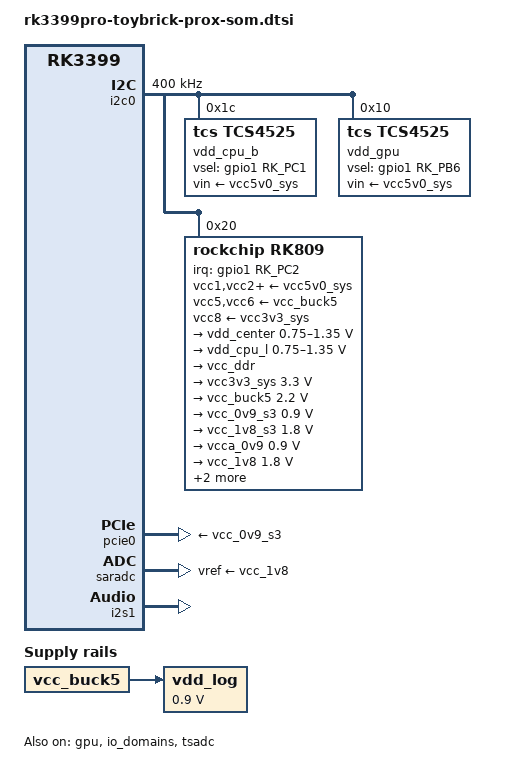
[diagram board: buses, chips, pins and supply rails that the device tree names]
// SPDX-License-Identifier: (GPL-2.0+ OR MIT)
/*
 * Copyright (c) 2019 Fuzhou Rockchip Electronics Co., Ltd
 */

#include <dt-bindings/gpio/gpio.h>
#include <dt-bindings/interrupt-controller/irq.h>
#include <dt-bindings/pinctrl/rockchip.h>
#include <dt-bindings/pwm/pwm.h>

#include "rk3399pro.dtsi"
#include "rk3399-opp.dtsi"

/ {
	compatible = "toybrick,rk3399prox-som", "rockchip,rk3399pro";

	/*
	 * Really, this is supplied by vcc5v0_sys, and vcc_buck5 only
	 * drives the enable pin, but we can't quite model that.
	 */
	vdd_log: vdd-log {
		compatible = "regulator-fixed";
		regulator-name = "vdd_log";
		regulator-always-on;
		regulator-boot-on;
		regulator-min-microvolt = <900000>;
		regulator-max-microvolt = <900000>;
		vin-supply = <&vcc_buck5>;
	};

	rk809_sound: rk809-sound {
		compatible = "simple-audio-card";

		simple-audio-card,format = "i2s";
		simple-audio-card,name = "Analog RK809";
		simple-audio-card,mclk-fs = <256>;

		simple-audio-card,cpu {
			sound-dai = <&i2s1>;
		};

		simple-audio-card,codec {
			sound-dai = <&rk809>;
		};
	};
};

&i2c0 {
	status = "okay";

	clock-frequency = <400000>;
	i2c-scl-falling-time-ns = <30>;
	i2c-scl-rising-time-ns = <180>;

	vdd_cpu_b: regulator@1c {
		compatible = "tcs,tcs4525";
		reg = <0x1c>;

		/* Also has an enable pin driven by vcc_1v8. */
		fcs,suspend-voltage-selector = <1>;
		pinctrl-0 = <&cpu_b_sleep_h>;
		vsel-gpios = <&gpio1 RK_PC1 GPIO_ACTIVE_HIGH>;
		vin-supply = <&vcc5v0_sys>;

		regulator-name = "vdd_cpu_b";
		regulator-min-microvolt = <712500>;
		regulator-max-microvolt = <1500000>;
		regulator-ramp-delay = <2300>;
		regulator-always-on;
		regulator-boot-on;

		regulator-state-mem {
			regulator-off-in-suspend;
		};
	};

	vdd_gpu: regulator@10 {
		compatible = "tcs,tcs4525";
		reg = <0x10>;

		/* Also has an enable pin driven by vcc_1v8. */
		fcs,suspend-voltage-selector = <1>;
		pinctrl-0 = <&gpu_sleep_h>;
		vsel-gpios = <&gpio1 RK_PB6 GPIO_ACTIVE_HIGH>;
		vin-supply = <&vcc5v0_sys>;

		regulator-name = "vdd_gpu";
		regulator-min-microvolt = <735000>;
		regulator-max-microvolt = <1500000>;
		regulator-ramp-delay = <2300>;
		regulator-always-on;
		regulator-boot-on;

		regulator-state-mem {
			regulator-off-in-suspend;
		};
	};

	rk809: pmic@20 {
		compatible = "rockchip,rk809";
		reg = <0x20>;

		#clock-cells = <1>;
		#sound-dai-cells = <0>;

		interrupt-parent = <&gpio1>;
		interrupts = <RK_PC2 IRQ_TYPE_LEVEL_LOW>;
		pinctrl-names = "default";
		pinctrl-0 = <&pmic_int_l>, <&i2s_clk>;

		clock-names = "mclk";
		clocks = <&cru SCLK_I2S_8CH_OUT>;
		clock-output-names = "rk809-clkout1", "rk809-clkout2";

		rockchip,system-power-controller;
		wakeup-source;

		vcc1-supply = <&vcc5v0_sys>;
		vcc2-supply = <&vcc5v0_sys>;
		vcc3-supply = <&vcc5v0_sys>;
		vcc4-supply = <&vcc5v0_sys>;
		vcc5-supply = <&vcc_buck5>;
		vcc6-supply = <&vcc_buck5>;
		vcc7-supply = <&vcc5v0_sys>;
		vcc8-supply = <&vcc3v3_sys>;
		vcc9-supply = <&vcc5v0_sys>;

		regulators {
			vdd_center: DCDC_REG1 {
				regulator-name = "vdd_center";
				regulator-always-on;
				regulator-boot-on;
				regulator-min-microvolt = <750000>;
				regulator-max-microvolt = <1350000>;
				regulator-initial-mode = <0x2>;
				regulator-state-mem {
					/* Schematic says this is off in suspend? */
					regulator-on-in-suspend;
					regulator-suspend-microvolt = <900000>;
				};
			};

			vdd_cpu_l: DCDC_REG2 {
				regulator-name = "vdd_cpu_l";
				regulator-always-on;
				regulator-boot-on;
				regulator-min-microvolt = <750000>;
				regulator-max-microvolt = <1350000>;
				regulator-ramp-delay = <6001>;
				regulator-initial-mode = <0x2>;
				regulator-state-mem {
					regulator-off-in-suspend;
				};
			};

			vcc_ddr: DCDC_REG3 {
				regulator-name = "vcc_ddr";
				regulator-always-on;
				regulator-boot-on;
				regulator-initial-mode = <0x2>;
				regulator-state-mem {
					regulator-on-in-suspend;
				};
			};

			vcc3v3_sys: DCDC_REG4 {
				regulator-name = "vcc3v3_sys";
				regulator-always-on;
				regulator-boot-on;
				regulator-min-microvolt = <3300000>;
				regulator-max-microvolt = <3300000>;
				regulator-initial-mode = <0x2>;
				regulator-state-mem {
					regulator-on-in-suspend;
					regulator-suspend-microvolt = <3300000>;
				};
			};

			vcc_buck5: DCDC_REG5 {
				regulator-name = "vcc_buck5";
				regulator-always-on;
				regulator-boot-on;
				regulator-min-microvolt = <2200000>;
				regulator-max-microvolt = <2200000>;
				regulator-state-mem {
					regulator-on-in-suspend;
					regulator-suspend-microvolt = <2200000>;
				};
			};

			vcc_0v9_s3: LDO_REG1 {
				regulator-name = "vcc_0v9_s3";
				regulator-always-on;
				regulator-boot-on;
				regulator-min-microvolt = <900000>;
				regulator-max-microvolt = <900000>;
				regulator-state-mem {
					regulator-on-in-suspend;
					regulator-suspend-microvolt = <900000>;
				};
			};

			vcc_1v8_s3: LDO_REG2 {
				regulator-name = "vcc_1v8_s3";
				regulator-always-on;
				regulator-boot-on;
				regulator-min-microvolt = <1800000>;
				regulator-max-microvolt = <1800000>;
				regulator-state-mem {
					regulator-on-in-suspend;
					regulator-suspend-microvolt = <1800000>;
				};
			};

			vcca_0v9: LDO_REG3 {
				regulator-name = "vcca_0v9";
				regulator-always-on;
				regulator-boot-on;
				regulator-min-microvolt = <900000>;
				regulator-max-microvolt = <900000>;
				regulator-state-mem {
					regulator-off-in-suspend;
				};
			};

			vcc_1v8: LDO_REG4 {
				regulator-name = "vcc_1v8";
				regulator-always-on;
				regulator-boot-on;
				regulator-min-microvolt = <1800000>;
				regulator-max-microvolt = <1800000>;
				regulator-state-mem {
					regulator-off-in-suspend;
				};
			};

			vcc1v8_dvp: LDO_REG5 {
				regulator-name = "vcc1v8_dvp";
				regulator-always-on;
				/* Scheamtic says this off at boot? */
				regulator-boot-on;
				regulator-min-microvolt = <1800000>;
				regulator-max-microvolt = <1800000>;
				regulator-state-mem {
					regulator-off-in-suspend;
				};
			};

			vcc_1v5: LDO_REG6 {
				regulator-name = "vcc_1v5";
				regulator-always-on;
				regulator-boot-on;
				regulator-min-microvolt = <1500000>;
				regulator-max-microvolt = <1500000>;
				regulator-state-mem {
					regulator-off-in-suspend;
				};
			};

			vccio_3v0: LDO_REG7 {
				regulator-name = "vccio_3v0";
				regulator-always-on;
				regulator-boot-on;
				regulator-min-microvolt = <3000000>;
				regulator-max-microvolt = <3000000>;
				regulator-state-mem {
					regulator-off-in-suspend;
				};
			};

			vccio_sd: LDO_REG8 {
				regulator-name = "vccio_sd";
				regulator-always-on;
				regulator-boot-on;
				regulator-min-microvolt = <3000000>;
				regulator-max-microvolt = <3000000>;
				regulator-state-mem {
					/* Schematic says this is off in suspend? */
					regulator-on-in-suspend;
					regulator-suspend-microvolt = <3000000>;
				};
			};

			vcc3v0_sd: LDO_REG9 {
				regulator-name = "vcc3v0_sd";
				regulator-always-on;
				regulator-boot-on;
				regulator-min-microvolt = <3000000>;
				regulator-max-microvolt = <3000000>;
				regulator-state-mem {
					/* Schematic says this is off in suspend? */
					regulator-on-in-suspend;
					regulator-suspend-microvolt = <3000000>;
				};
			};

			/* Not used on the SOM, and not exposed via the SOM's connector. */
			/*
			vcc5v0_usb: SWITCH_REG1 {
				regulator-name = "vcc5v0_usb";
				regulator-min-microvolt = <5000000>;
				regulator-max-microvolt = <5000000>;
				regulator-state-mem {
					regulator-off-in-suspend;
				};
			};
			*/

			vccio_3v3: SWITCH_REG2 {
				regulator-name = "vccio_3v3";
				regulator-always-on;
				regulator-boot-on;
				regulator-min-microvolt = <3300000>;
				regulator-max-microvolt = <3300000>;
				regulator-state-mem {
					regulator-off-in-suspend;
				};
			};
		};
	};
};

&cpu_l0 {
	cpu-supply = <&vdd_cpu_l>;
};

&cpu_l1 {
	cpu-supply = <&vdd_cpu_l>;
};

&cpu_l2 {
	cpu-supply = <&vdd_cpu_l>;
};

&cpu_l3 {
	cpu-supply = <&vdd_cpu_l>;
};

&cpu_b0 {
	cpu-supply = <&vdd_cpu_b>;
};

&cpu_b1 {
	cpu-supply = <&vdd_cpu_b>;
};

&gpu {
	status = "okay";

	mali-supply = <&vdd_gpu>;
};

&pmu_io_domains {
	status = "okay";

	/*
	 * PMUIO1_VDD_1V8 = VCC_1V8_S3
	 * PMU_VDD_1V8 = VCC_1V8_S3
	 * PMU_VDD_0V9 = VCC_0V9_S3
	 * PMUIO2_VDDPST = VCC_1V8_S3
	 */

	pmu1830-supply = <&vcc_1v8_s3>; /* PMUIO2_VDD */
};

&io_domains {
	status = "okay";

	/*
	 * APIO1_VDD = VCCIO_3V3_S0
	 * APIO1_VDDPST = VCC_1V8_S0
	 * APIO3_VDD_1V8 = VCC_1V8_S3
	 * APIO4_VDDPST = VCC_1V5_S0
	 * APIO5_VDDPST = VCC_1V8_S0
	 */
	audio-supply = <&vcc_1v8>; /* APIO5_VDD */
	bt656-supply = <&vcc1v8_dvp>; /* APIO2_VDD */
	gpio1830-supply = <&vccio_3v0>; /* APIO4_VDD */
	sdmmc-supply = <&vccio_sd>; /* SDMMC0_VDD */
};

i2c1_1v8: &i2c1 {};

i2c3_hdmi: &i2c3 {};

i2c4_tp: &i2c4 {};

&hdmi {
	avdd-0v9-supply = <&vcca_0v9>;
	avdd-1v8-supply = <&vcc_1v8>;
};

&pcie0 {
	vpcie3v3-supply = <&vcc_0v9_s3>;
	vpcie1v8-supply = <&vcc_1v8_s3>;
};

&saradc {
	vref-supply = <&vcc_1v8>;
};

&tsadc {
	status = "okay";

	/* tshut mode 0:CRU 1:GPIO */
	rockchip,hw-tshut-mode = <1>;
	/* tshut polarity 0:LOW 1:HIGH */
	rockchip,hw-tshut-polarity = <1>;
};

&i2s1 {
	status = "okay";

	#sound-dai-cells = <0>;
};

&pinctrl {
	/*
	 * pinctrl settings for pins that have no real owners.
	 *
	 * At the moment settings are identical for S0 and S3, but if we later
	 * need to configure things differently for S3 we'll adjust here.
	 */
	pinctrl-names = "default";
	pinctrl-0 = <
		&ap_pwroff	/* AP will auto-assert this when in S3 */
		&clk_32k	/* This pin is always 32k on gru boards */
	>;

	wifi {
		/* Says _l but is actually active-high. */
		wifi_host_wake_l: wifi-host-wake-l {
			rockchip,pins = <0 RK_PA3 RK_FUNC_GPIO &pcfg_pull_none>;
		};

		/* Says _h but is actually active-low. */
		wifi_reg_on_h: wifi-reg-on-h {
			rockchip,pins = <2 RK_PD3 RK_FUNC_GPIO &pcfg_pull_none>;
		};
	};

	bt {
		/* Says _l but is actually active-high. */
		bt_host_wake_l: bt-host-wake-l {
			rockchip,pins = <0 RK_PA5 RK_FUNC_GPIO &pcfg_pull_none>;
		};

		/* Says _l but is actually active-high. */
		bt_wake_l: bt-wake-l {
			rockchip,pins = <2 RK_PD2 RK_FUNC_GPIO &pcfg_pull_none>;
		};

		/* Says _h but is actually active-low. */
		bt_reg_on_h: bt-reg-on-h {
			rockchip,pins = <2 RK_PD4 RK_FUNC_GPIO &pcfg_pull_none>;
		};
	};

	headphone {
		phone_det_h: phone-det-h {
			rockchip,pins = <0 RK_PB5 RK_FUNC_GPIO &pcfg_pull_up>;
		};
	};

	rtc {
		hym_rtc_int_l: hym-rtc-int-l {
			rockchip,pins = <1 RK_PB2 RK_FUNC_GPIO &pcfg_pull_none>;
		};
	};

	usb {
		usb5v0_en_h: usb5v0-en-h {
			rockchip,pins = <1 RK_PB5 RK_FUNC_GPIO &pcfg_pull_down>;
		};

		vcc5v0_typec0_en: vcc5v0-typec0-en {
			rockchip,pins = <4 RK_PC5 RK_FUNC_GPIO &pcfg_pull_down>;
		};

		typec_cc_int_l: typec-cc-int-l {
			rockchip,pins = <1 RK_PA2 RK_FUNC_GPIO &pcfg_pull_up>;
		};
	};

	gpu {
		gpu_sleep_h: gpu-sleep-h {
			rockchip,pins = <1 RK_PB6 RK_FUNC_GPIO &pcfg_pull_down>;
		};
	};

	cpu {
		cpu_b_sleep_h: cpu-b-sleep-h {
			rockchip,pins = <1 RK_PC1 RK_FUNC_GPIO &pcfg_pull_down>;
		};
	};

	pmic {
		pmic_int_l: pmic-int-l {
			rockchip,pins = <1 RK_PC2 RK_FUNC_GPIO &pcfg_pull_up>;
		};
	};

	pcie {
		/* Says _l, but is actually active-high. */
		pcie_perst_l: pcie-perst-l {
			rockchip,pins = <1 RK_PB1 RK_FUNC_GPIO &pcfg_pull_none>;
		};
	};

	leds {
		led_rgb_r: led-rgb-r {
			rockchip,pins = <2 RK_PA3 RK_FUNC_GPIO &pcfg_pull_up>;
		};

		led_rgb_g: led-rgb-g {
			rockchip,pins = <2 RK_PA4 RK_FUNC_GPIO &pcfg_pull_up>;
		};
	};

	i2s {
		i2s_clk: i2s-clk {
			rockchip,pins = <4 RK_PA0 1 &pcfg_pull_none>;
		};
	};
};
